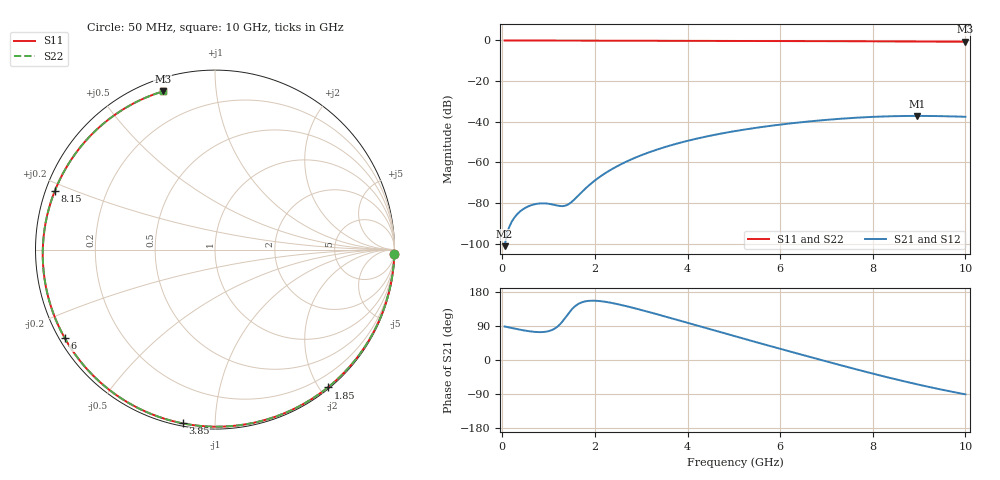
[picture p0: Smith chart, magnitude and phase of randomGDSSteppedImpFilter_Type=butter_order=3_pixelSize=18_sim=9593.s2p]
! freq	dB(S11)	phase(S11)	dB(S12)	phase(S12)
!  dB(S21)	phase(S21)	dB(S22)	phase(S22)
!S-par simulation data
#  GHz  S  DB  R 50
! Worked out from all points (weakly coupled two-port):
!   200 points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, 50 MHz to 10 GHz, reference 50 ohm
!   highest |S21| = -37.13 dB at 8.95 GHz (marker M1); lowest = -101.2 dB at 50 MHz (marker M2)
!   lowest |S11| = -0.6 dB at 10 GHz (marker M3), VSWR 26.77, Z = 2.84 + j36.1 ohm
!   |S11| at or under -10 dB: nowhere
!   |S22| runs from -0.6 to 0.0 dB; largest |S21 - S12| = 0
!   S11 on the Smith chart (normalised r, x): 50 MHz: 0, -81; 1.85 GHz: 0.02, -2.11; 3.85 GHz: 0.01, -0.83; 6 GHz: 0.02, -0.27; 8.15 GHz: 0.03, +0.18; 10 GHz: 0.06, +0.72
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0.05  -0.00 -1.4  -101.23 88.5  -101.23 88.5  -0.00 -1.4
0.4  -0.02 -11.2  -83.84 79.6  -83.84 79.6  -0.02 -11.2
0.75  -0.03 -20.9  -80.37 73.8  -80.37 73.8  -0.03 -20.9
1.45  -0.05 -40.0  -80.30 126.3  -80.30 126.3  -0.05 -40.0
1.5  -0.05 -41.3  -79.41 133.5  -79.41 133.5  -0.05 -41.3
1.75  -0.06 -48.0  -73.84 153.5  -73.84 153.5  -0.06 -48.0
1.85  -0.06 -50.7  -71.73 155.9  -71.73 155.9  -0.06 -50.6
2.15  -0.07 -58.5  -66.41 154.9  -66.41 154.9  -0.07 -58.5
2.5  -0.08 -67.5  -61.65 147.1  -61.65 147.1  -0.08 -67.5
2.9  -0.10 -77.5  -57.41 135.3  -57.41 135.3  -0.10 -77.5
3.4  -0.12 -89.8  -53.26 118.8  -53.26 118.8  -0.12 -89.8
3.85  -0.13 -100.5  -50.27 103.3  -50.27 103.3  -0.13 -100.5
4.45  -0.16 -114.5  -47.06 82.5  -47.06 82.5  -0.16 -114.5
5.05  -0.19 -128.2  -44.51 61.8  -44.51 61.8  -0.19 -128.2
6  -0.25 -149.6  -41.41 29.6  -41.41 29.6  -0.25 -149.6
6.7  -0.30 -165.5  -39.69 6.2  -39.69 6.2  -0.30 -165.5
7.45  -0.37 177.0  -38.30 -18.4  -38.30 -18.4  -0.37 177.0
8.15  -0.44 159.8  -37.46 -40.5  -37.46 -40.5  -0.44 159.8
8.35  -0.46 154.7  -37.32 -46.6  -37.32 -46.6  -0.46 154.7
8.95  -0.53 138.8  -37.13 -63.9  -37.13 -63.9  -0.53 138.8
9.5  -0.59 123.2  -37.25 -78.5  -37.25 -78.5  -0.59 123.2
10  -0.65 108.3  -37.56 -90.6  -37.56 -90.6  -0.65 108.3
